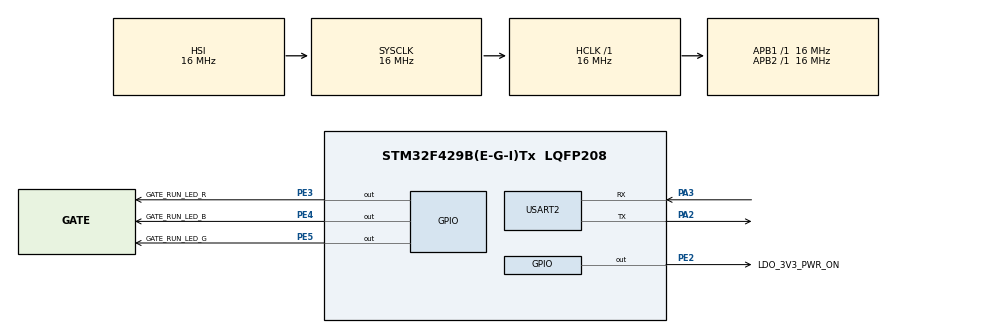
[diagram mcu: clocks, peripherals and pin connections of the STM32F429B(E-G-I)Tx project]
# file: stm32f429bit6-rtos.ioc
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Dma.Request0=USART2_RX
Dma.USART2_RX.0.Direction=DMA_PERIPH_TO_MEMORY
Dma.USART2_RX.0.FIFOMode=DMA_FIFOMODE_DISABLE
Dma.USART2_RX.0.Instance=DMA1_Stream5
Dma.USART2_RX.0.MemDataAlignment=DMA_MDATAALIGN_BYTE
Dma.USART2_RX.0.MemInc=DMA_MINC_ENABLE
Dma.USART2_RX.0.Mode=DMA_CIRCULAR
Dma.USART2_RX.0.PeriphDataAlignment=DMA_PDATAALIGN_BYTE
Dma.USART2_RX.0.PeriphInc=DMA_PINC_DISABLE
Dma.USART2_RX.0.Priority=DMA_PRIORITY_LOW
FREERTOS.Queues01=myQueue01,16,uint16_t,0,Dynamic,NULL,NULL
FREERTOS.Tasks01=defaultTask,0,128,StartDefaultTask,Default,NULL,Dynamic,NULL,NULL
FREERTOS.configUSE_NEWLIB_REENTRANT=1
Mcu.Family=STM32F4
Mcu.Name=STM32F429B(E-G-I)Tx
Mcu.Package=LQFP208
NVIC.DMA1_Stream5_IRQn=true\:5\:0\:false\:false\:true\:true\:false\:true\:true
NVIC.PriorityGroup=NVIC_PRIORITYGROUP_4
NVIC.USART2_IRQn=true\:5\:0\:false\:false\:true\:true\:true\:true\:true
PA13.Mode=Serial_Wire
PA13.Signal=SYS_JTMS-SWDIO
PA14.Mode=Serial_Wire
PA14.Signal=SYS_JTCK-SWCLK
PA2.Mode=Asynchronous
PA2.Signal=USART2_TX
PA3.Mode=Asynchronous
PA3.Signal=USART2_RX
PC14/OSC32_IN.Mode=LSE-External-Oscillator
PC14/OSC32_IN.Signal=RCC_OSC32_IN
PC15/OSC32_OUT.Mode=LSE-External-Oscillator
PC15/OSC32_OUT.Signal=RCC_OSC32_OUT
PE2.GPIO_Label=LDO_3V3_PWR_ON
PE2.Signal=GPIO_Output
PE3.GPIO_Label=GATE_RUN_LED_R
PE3.Signal=GPIO_Output
PE4.GPIO_Label=GATE_RUN_LED_B
PE4.Signal=GPIO_Output
PE5.GPIO_Label=GATE_RUN_LED_G
PE5.Signal=GPIO_Output
PH0/OSC_IN.Mode=HSE-External-Oscillator
PH0/OSC_IN.Signal=RCC_OSC_IN
PH1/OSC_OUT.Mode=HSE-External-Oscillator
PH1/OSC_OUT.Signal=RCC_OSC_OUT
ProjectManager.HeapSize=0x200
ProjectManager.StackSize=0x400
ProjectManager.TargetToolchain=STM32CubeIDE
RCC.AHBFreq_Value=16000000
RCC.APB1Freq_Value=16000000
RCC.APB2Freq_Value=16000000
RCC.CortexFreq_Value=16000000
RCC.HSE_VALUE=25000000
RCC.HSI_VALUE=16000000
RCC.SYSCLKFreq_VALUE=16000000
RCC.VCOOutputFreq_Value=192000000
USART2.VirtualMode=VM_ASYNC
VP_FREERTOS_VS_CMSIS_V1.Mode=CMSIS_V1
board=custom

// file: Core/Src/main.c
/* USER CODE BEGIN Header */
/**
  ******************************************************************************
  * @file           : main.c
  * @brief          : Main program body
  ******************************************************************************
  * @attention
  *
  * Copyright (c) 2024 STMicroelectronics.
  * All rights reserved.
  *
  * This software is licensed under terms that can be found in the LICENSE file
  * in the root directory of this software component.
  * If no LICENSE file comes with this software, it is provided AS-IS.
  *
  ******************************************************************************
  */
/* USER CODE END Header */
#include "main.h"
#include "cmsis_os.h"

/* USER CODE BEGIN Includes */
#include <stdio.h>
#include <string.h>
/* USER CODE END Includes */

UART_HandleTypeDef huart2;
DMA_HandleTypeDef hdma_usart2_rx;

osThreadId defaultTaskHandle;
/* USER CODE BEGIN PV */
osThreadId debugMonitorHandle;

osMessageQId debugMonitorQueueHandle;

#define BUFFER_SIZE 16

/*** Static Variables ***/
static UART_HandleTypeDef *sp_huart;
static uint8_t s_bufferRx[BUFFER_SIZE];
//static uint8_t s_bufferTx[BUFFER_SIZE];
uint8_t s_bufferRxRp = 0;
uint32_t ProducerValue = 0, ConsumerValue = 0;
/* USER CODE END PV */

void SystemClock_Config(void);
static void MX_GPIO_Init(void);
static void MX_DMA_Init(void);
static void MX_USART2_UART_Init(void);
void StartDefaultTask(void const * argument);

/* USER CODE BEGIN PFP */
void debugMonitorTask(void const * argument);
/* USER CODE END PFP */

/* USER CODE BEGIN 0 */
int __io_putchar(int ch)
{
	if(HAL_UART_Transmit(sp_huart, (uint8_t *)&ch, 1, 10) != HAL_OK)
		return -1;
	return ch;
}
//
//int __io_getchar(void)
//{
//	char data[4];
//	uint8_t ch, len = 1;
//
//	while(HAL_UART_Receive(sp_huart, &ch, 1, 10) != HAL_OK)
//	{
//	}
//
//	memset(data, 0x00, 4);
//	switch(ch)
//	{
//		case '\r':
//		case '\n':
//			len = 2;
//			sprintf(data, "\r\n");
//			break;
//
//		case '\b':
//		case 0x7F:
//			len = 3;
//			sprintf(data, "\b \b");
//			break;
//
//		default:
//			data[0] = ch;
//			break;
//	}
////	HAL_UART_Transmit(sp_huart, (uint8_t *)data, len, 10);
//	return ch;
//}
/* USER CODE END 0 */

int main(void)
{

  /* MCU Configuration--------------------------------------------------------*/

  /* Reset of all peripherals, Initializes the Flash interface and the Systick. */
  HAL_Init();

  /* Configure the system clock */
  SystemClock_Config();

  /* Initialize all configured peripherals */
  MX_GPIO_Init();
  MX_DMA_Init();
  MX_USART2_UART_Init();
  /* USER CODE BEGIN 2 */
  sp_huart = &huart2;
  //HAL_UART_Receive(sp_huart, &uart2RxData, 1, 100);
  s_bufferRxRp = 0;

  setbuf(stdin, NULL);
  setbuf(stdout, NULL);
  setbuf(stderr, NULL);

  HAL_UART_Receive_DMA(sp_huart, s_bufferRx, BUFFER_SIZE);

  printf("stm32f429bit-rtos\r\n");
//
//  printf("Enter Ch:");
//  scanf("%c", &ch);
//  printf("%c\r\n", ch);

  /* USER CODE END 2 */

  /* USER CODE BEGIN RTOS_QUEUES */
  /* add queues, ... */
  osMessageQDef(debugMonitorQueue, 16, uint16_t);
  debugMonitorQueueHandle = osMessageCreate(osMessageQ(debugMonitorQueue), NULL);
  /* USER CODE END RTOS_QUEUES */

  /* Create the thread(s) */
  /* definition and creation of defaultTask */
  osThreadDef(defaultTask, StartDefaultTask, osPriorityNormal, 0, 128);
  defaultTaskHandle = osThreadCreate(osThread(defaultTask), NULL);

  /* USER CODE BEGIN RTOS_THREADS */
  /* add threads, ... */
  osThreadDef(debugMonitor, debugMonitorTask, osPriorityIdle, 0, 512);
  debugMonitorHandle = osThreadCreate(osThread(debugMonitor), NULL);
  /* USER CODE END RTOS_THREADS */

  /* Start scheduler */
  osKernelStart();

  /* We should never get here as control is now taken by the scheduler */
  /* Infinite loop */
  while (1)
  {

  }
}

void SystemClock_Config(void)
{
  RCC_OscInitTypeDef RCC_OscInitStruct = {0};
  RCC_ClkInitTypeDef RCC_ClkInitStruct = {0};

  /** Configure the main internal regulator output voltage
  */
  __HAL_RCC_PWR_CLK_ENABLE();
  __HAL_PWR_VOLTAGESCALING_CONFIG(PWR_REGULATOR_VOLTAGE_SCALE3);

  /** Initializes the RCC Oscillators according to the specified parameters
  * in the RCC_OscInitTypeDef structure.
  */
  RCC_OscInitStruct.OscillatorType = RCC_OSCILLATORTYPE_HSI;
  RCC_OscInitStruct.HSIState = RCC_HSI_ON;
  RCC_OscInitStruct.HSICalibrationValue = RCC_HSICALIBRATION_DEFAULT;
  RCC_OscInitStruct.PLL.PLLState = RCC_PLL_NONE;
  if (HAL_RCC_OscConfig(&RCC_OscInitStruct) != HAL_OK)
  {
    Error_Handler();
  }

  /** Initializes the CPU, AHB and APB buses clocks
  */
  RCC_ClkInitStruct.ClockType = RCC_CLOCKTYPE_HCLK|RCC_CLOCKTYPE_SYSCLK
                              |RCC_CLOCKTYPE_PCLK1|RCC_CLOCKTYPE_PCLK2;
  RCC_ClkInitStruct.SYSCLKSource = RCC_SYSCLKSOURCE_HSI;
  RCC_ClkInitStruct.AHBCLKDivider = RCC_SYSCLK_DIV1;
  RCC_ClkInitStruct.APB1CLKDivider = RCC_HCLK_DIV1;
  RCC_ClkInitStruct.APB2CLKDivider = RCC_HCLK_DIV1;

  if (HAL_RCC_ClockConfig(&RCC_ClkInitStruct, FLASH_LATENCY_0) != HAL_OK)
  {
    Error_Handler();
  }
}

static void MX_USART2_UART_Init(void)
{

  huart2.Instance = USART2;
  huart2.Init.BaudRate = 115200;
  huart2.Init.WordLength = UART_WORDLENGTH_8B;
  huart2.Init.StopBits = UART_STOPBITS_1;
  huart2.Init.Parity = UART_PARITY_NONE;
  huart2.Init.Mode = UART_MODE_TX_RX;
  huart2.Init.HwFlowCtl = UART_HWCONTROL_NONE;
  huart2.Init.OverSampling = UART_OVERSAMPLING_16;
  if (HAL_UART_Init(&huart2) != HAL_OK)
  {
    Error_Handler();
  }

}

static void MX_DMA_Init(void)
{

  /* DMA controller clock enable */
  __HAL_RCC_DMA1_CLK_ENABLE();

  /* DMA interrupt init */
  /* DMA1_Stream5_IRQn interrupt configuration */
  HAL_NVIC_SetPriority(DMA1_Stream5_IRQn, 5, 0);
  HAL_NVIC_EnableIRQ(DMA1_Stream5_IRQn);

}

static void MX_GPIO_Init(void)
{
  GPIO_InitTypeDef GPIO_InitStruct = {0};

  /* GPIO Ports Clock Enable */
  __HAL_RCC_GPIOE_CLK_ENABLE();
  __HAL_RCC_GPIOC_CLK_ENABLE();
  __HAL_RCC_GPIOH_CLK_ENABLE();
  __HAL_RCC_GPIOA_CLK_ENABLE();

  /*Configure GPIO pin Output Level */
  HAL_GPIO_WritePin(GPIOE, LDO_3V3_PWR_ON_Pin|GATE_RUN_LED_R_Pin|GATE_RUN_LED_B_Pin|GATE_RUN_LED_G_Pin, GPIO_PIN_RESET);

  /*Configure GPIO pins : LDO_3V3_PWR_ON_Pin GATE_RUN_LED_R_Pin GATE_RUN_LED_B_Pin GATE_RUN_LED_G_Pin */
  GPIO_InitStruct.Pin = LDO_3V3_PWR_ON_Pin|GATE_RUN_LED_R_Pin|GATE_RUN_LED_B_Pin|GATE_RUN_LED_G_Pin;
  GPIO_InitStruct.Mode = GPIO_MODE_OUTPUT_PP;
  GPIO_InitStruct.Pull = GPIO_NOPULL;
  GPIO_InitStruct.Speed = GPIO_SPEED_FREQ_LOW;
  HAL_GPIO_Init(GPIOE, &GPIO_InitStruct);

}

/* USER CODE BEGIN 4 */
void usart_process_data(const void* data, size_t len)
{
    const uint8_t* d = data;

    /*
     * This function is called on DMA TC or HT events, and on UART IDLE (if enabled) event.
     *
     * For the sake of this example, function does a loop-back data over UART in polling mode.
     * Check ringbuff RX-based example for implementation with TX & RX DMA transfer.
     */

    for (; len > 0; --len, ++d) {
    	HAL_UART_Transmit(sp_huart, d, 1, 10);
        //LL_USART_TransmitData8(USART3, *d);
        //while (!LL_USART_IsActiveFlag_TXE(sp_huart)) {}
        while(!(READ_BIT(sp_huart->Instance->SR, USART_SR_TXE) == (USART_SR_TXE))){}
    }
    //while (!LL_USART_IsActiveFlag_TC(sp_huart)) {}
    while(!(READ_BIT(sp_huart->Instance->SR, USART_SR_TC) == (USART_SR_TC))){}
}

/**
 * \brief           Send string to USART
 * \param[in]       str: String to send
 */
void printf_(const char* str) {
    usart_process_data(str, strlen(str));
}
void HAL_UARTEx_RxEventCallback(UART_HandleTypeDef *huart, uint16_t Size)
{
	printf_("EC");
}
void HAL_UART_RxHalfCpltCallback(UART_HandleTypeDef *huart)
{
	printf_("HT");

	osMessagePut(debugMonitorQueueHandle, ++ProducerValue, 100);
}
void HAL_UART_RxCpltCallback(UART_HandleTypeDef *huart)
{
	printf_("CP");

	osMessagePut(debugMonitorQueueHandle, ++ProducerValue, 100);
}

void debugMonitorTask(void const * argument)
{
	osEvent event;
//	uint8_t bufferRxWp = 0;

	printf("debugMonitorTask\r\n");

	/* Infinite loop */
	for(;;)
	{
	    /* Get the message from the queue */
	    event = osMessageGet(debugMonitorQueueHandle, osWaitForever);

	    if(event.status == osEventMessage){
	    	if(event.value.v != ConsumerValue){
	    		/* Catch-up. */
	            ConsumerValue = event.value.v;
	            printf_("CV");
	            /* Simply call processing function */

	            usart_process_data(s_bufferRx, __HAL_DMA_GET_COUNTER(&hdma_usart2_rx));
				//bufferRxWp = (BUFFER_SIZE -_HAL_DMA_GET_COUNTER(hdma_usart2_rx))&(BUFFER_SIZE-1);
//				if(bufferRxWp != s_bufferRxRp){
//				  s_bufferRx[s_bufferRxRp++];
//				  HAL_UART_Transmit(sp_huart, &ch, 1, 10);
//				}
	    	}
	    	else{
	            /* Increment the value we expect to remove from the queue next time round. */
	            ++ConsumerValue;
	            printf_("CV+");
	    	}
	    }

		osDelay(1);
	}
}

/* USER CODE END 4 */

void StartDefaultTask(void const * argument)
{
  /* USER CODE BEGIN 5 */
	printf("StartDefaultTask\r\n");
	HAL_GPIO_WritePin(LDO_3V3_PWR_ON_GPIO_Port, LDO_3V3_PWR_ON_Pin, GPIO_PIN_SET);
  /* Infinite loop */
  for(;;)
  {
	osDelay(500);
	HAL_GPIO_WritePin(GATE_RUN_LED_R_GPIO_Port, GATE_RUN_LED_R_Pin, GPIO_PIN_SET);
	HAL_GPIO_WritePin(GATE_RUN_LED_G_GPIO_Port, GATE_RUN_LED_G_Pin, GPIO_PIN_RESET);
	HAL_GPIO_WritePin(GATE_RUN_LED_B_GPIO_Port, GATE_RUN_LED_B_Pin, GPIO_PIN_RESET);
	osDelay(500);
	HAL_GPIO_WritePin(GATE_RUN_LED_R_GPIO_Port, GATE_RUN_LED_R_Pin, GPIO_PIN_RESET);
	HAL_GPIO_WritePin(GATE_RUN_LED_G_GPIO_Port, GATE_RUN_LED_G_Pin, GPIO_PIN_SET);
	HAL_GPIO_WritePin(GATE_RUN_LED_B_GPIO_Port, GATE_RUN_LED_B_Pin, GPIO_PIN_RESET);
	osDelay(500);
	HAL_GPIO_WritePin(GATE_RUN_LED_R_GPIO_Port, GATE_RUN_LED_R_Pin, GPIO_PIN_RESET);
	HAL_GPIO_WritePin(GATE_RUN_LED_G_GPIO_Port, GATE_RUN_LED_G_Pin, GPIO_PIN_RESET);
	HAL_GPIO_WritePin(GATE_RUN_LED_B_GPIO_Port, GATE_RUN_LED_B_Pin, GPIO_PIN_SET);
  }
  /* USER CODE END 5 */
}

void Error_Handler(void)
{
  __disable_irq();
  while (1)
  {
  }
}
